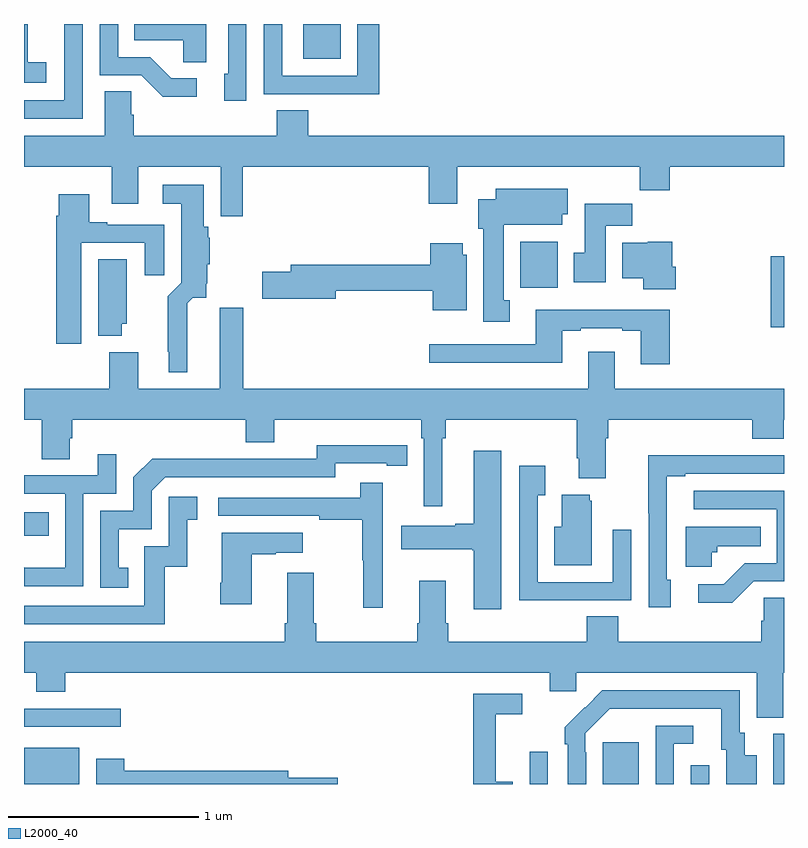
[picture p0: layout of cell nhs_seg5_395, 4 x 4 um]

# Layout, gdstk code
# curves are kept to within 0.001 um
import gdstk
lib = gdstk.Library(unit=1e-6, precision=1e-09)
def R(c, l, rs):  # rectangles x0, y0, x1, y1
    for r in rs: c.add(gdstk.rectangle(r[:2], r[2:], *l))
def P(c, l, *ps):  # polygons
    for p in ps: c.add(gdstk.Polygon(p, *l))
L2000_40 = (2000, 40)

nhs_seg5_395 = lib.new_cell('nhs_seg5_395')
R(nhs_seg5_395, L2000_40, [(135,898.799,135.292,898.99), (137.661,898.799,137.757,898.969), (138.047,898.799,138.235,899.02), (138.51,898.799,138.606,898.897), (138.944,898.799,139,899.064), (135,899.1,135.508,899.196), (135,900.105,135.131,900.228), (138.929,901.203,139,901.576), (137.612,901.412,137.809,901.654), (136.469,902.615,136.666,902.799)])
P(nhs_seg5_395, L2000_40, [(135.309,902.799),(135.213,902.799),(135.213,902.397),(135,902.397),(135,902.301),(135.309,902.301)],
  [(135.118,902.599),(135.02,902.599),(135.02,902.799),(135,902.799),(135,902.489),(135.118,902.489)],
  [(135.91,902.514),(135.775,902.514),(135.664,902.625),(135.495,902.625),(135.495,902.799),(135.399,902.799),(135.399,902.529),(135.618,902.529),(135.731,902.417),(135.91,902.417)],
  [(136.17,902.799),(136.074,902.799),(136.074,902.538),(136.055,902.538),(136.055,902.394),(136.17,902.394)],
  [(135.958,902.799),(135.58,902.799),(135.58,902.714),(135.837,902.714),(135.837,902.599),(135.958,902.599)],
  [(136.871,902.799),(136.755,902.799),(136.755,902.526),(136.359,902.526),(136.359,902.799),(136.263,902.799),(136.263,902.43),(136.579,902.43),(136.579,902.429),(136.871,902.429)],
  [(136.151,902.048),(137.129,902.048),(137.129,901.854),(137.281,901.854),(137.281,902.048),(138.241,902.048),(138.241,901.924),(138.398,901.924),(138.398,902.048),(139,902.048),(139,902.212),(136.496,902.212),(136.496,902.345),(136.331,902.345),(136.331,902.212),(135.578,902.212),(135.578,902.321),(135.564,902.321),(135.564,902.444),(135.425,902.444),(135.425,902.212),(135,902.212),(135,902.048),(135.461,902.048),(135.461,901.854),(135.601,901.854),(135.601,902.048),(136.035,902.048),(136.035,901.788),(136.151,901.788)],
  [(135.859,901.328),(135.889,901.359),(135.958,901.359),(135.958,901.429),(135.964,901.435),(135.964,901.534),(135.977,901.534),(135.977,901.674),(135.971,901.674),(135.971,901.731),(135.946,901.731),(135.946,901.954),(135.729,901.954),(135.729,901.853),(135.827,901.853),(135.827,901.436),(135.757,901.366),(135.757,901.075),(135.761,901.075),(135.761,900.965),(135.859,900.965)],
  [(137.557,901.346),(137.524,901.346),(137.524,901.742),(137.833,901.742),(137.833,901.799),(137.863,901.799),(137.863,901.933),(137.483,901.933),(137.483,901.876),(137.39,901.876),(137.39,901.722),(137.417,901.722),(137.417,901.233),(137.557,901.233)],
  [(135.301,901.647),(135.635,901.647),(135.635,901.476),(135.739,901.476),(135.739,901.743),(135.439,901.743),(135.439,901.756),(135.343,901.756),(135.343,901.903),(135.182,901.903),(135.182,901.79),(135.17,901.79),(135.17,901.116),(135.301,901.116)],
  [(138.061,901.736),(138.2,901.736),(138.2,901.854),(137.951,901.854),(137.951,901.596),(137.894,901.596),(137.894,901.44),(138.061,901.44)],
  [(138.431,901.521),(138.413,901.521),(138.413,901.654),(138.282,901.654),(138.282,901.648),(138.149,901.648),(138.149,901.46),(138.26,901.46),(138.26,901.403),(138.431,901.403)],
  [(137.329,901.584),(137.308,901.584),(137.308,901.645),(137.138,901.645),(137.138,901.532),(136.403,901.532),(136.403,901.496),(136.254,901.496),(136.254,901.354),(136.642,901.354),(136.642,901.396),(137.15,901.396),(137.15,901.292),(137.329,901.292)],
  [(135.514,901.221),(135.541,901.221),(135.541,901.562),(135.392,901.562),(135.392,901.157),(135.514,901.157)],
  [(137.969,900.88),(136.154,900.88),(136.154,901.306),(136.031,901.306),(136.031,900.88),(135.601,900.88),(135.601,901.072),(135.449,901.072),(135.449,900.88),(135,900.88),(135,900.716),(135.094,900.716),(135.094,900.508),(135.241,900.508),(135.241,900.618),(135.254,900.618),(135.254,900.716),(136.166,900.716),(136.166,900.599),(136.318,900.599),(136.318,900.716),(137.09,900.716),(137.09,900.62),(137.103,900.62),(137.103,900.261),(137.2,900.261),(137.2,900.62),(137.219,900.62),(137.219,900.716),(137.909,900.716),(137.909,900.514),(137.921,900.514),(137.921,900.407),(138.061,900.407),(138.061,900.62),(138.074,900.62),(138.074,900.716),(138.833,900.716),(138.833,900.617),(138.998,900.617),(138.998,900.716),(139,900.716),(139,900.88),(138.109,900.88),(138.109,901.075),(137.969,901.075)],
  [(138.398,901.294),(137.693,901.294),(137.693,901.113),(137.133,901.113),(137.133,901.016),(137.833,901.016),(137.833,901.185),(137.929,901.185),(137.929,901.197),(138.149,901.197),(138.149,901.185),(138.245,901.185),(138.245,901.008),(138.398,901.008)],
  [(135.548,899.937),(135.499,899.937),(135.499,900.141),(135.672,900.141),(135.672,900.342),(135.744,900.414),(136.638,900.414),(136.638,900.486),(136.91,900.486),(136.91,900.474),(137.018,900.474),(137.018,900.582),(136.542,900.583),(136.542,900.51),(136.082,900.51),(136.082,900.512),(135.674,900.512),(135.576,900.414),(135.576,900.237),(135.402,900.237),(135.402,899.832),(135.548,899.832)],
  [(137.512,900.553),(137.366,900.553),(137.366,900.17),(137.27,900.17),(137.27,900.157),(136.986,900.157),(136.986,900.035),(137.359,900.035),(137.359,900.028),(137.366,900.028),(137.366,899.718),(137.512,899.718)],
  [(135.312,900.327),(135.486,900.327),(135.486,900.535),(135.389,900.535),(135.389,900.423),(135,900.423),(135,900.327),(135.216,900.327),(135.216,899.938),(135.002,899.938),(135,899.94),(135,899.841),(135.312,899.841)],
  [(138.403,899.874),(138.384,899.874),(138.384,900.42),(138.481,900.42),(138.481,900.432),(139,900.432),(139,900.528),(138.749,900.528),(138.749,900.53),(138.286,900.53),(138.286,900.223),(138.288,900.223),(138.288,899.73),(138.403,899.73)],
  [(137.879,899.766),(138.195,899.766),(138.195,900.136),(138.099,900.136),(138.099,899.862),(137.703,899.862),(137.703,900.319),(137.743,900.319),(137.743,900.475),(137.607,900.475),(137.607,899.765),(137.879,899.765)],
  [(136.889,899.939),(136.887,899.939),(136.887,900.385),(136.771,900.385),(136.771,900.306),(136.023,900.306),(136.023,900.21),(136.555,900.21),(136.555,900.19),(136.779,900.19),(136.779,899.976),(136.786,899.976),(136.786,899.727),(136.889,899.727)],
  [(138.84,899.865),(139,899.865),(139,900.342),(138.525,900.342),(138.525,900.246),(138.963,900.246),(138.963,899.961),(138.794,899.961),(138.683,899.85),(138.549,899.85),(138.549,899.753),(138.727,899.753)],
  [(137.989,900.291),(137.978,900.291),(137.978,900.322),(137.831,900.322),(137.831,900.154),(137.792,900.154),(137.792,899.951),(137.989,899.951)],
  [(135.742,899.943),(135.86,899.943),(135.86,900.189),(135.913,900.189),(135.913,900.31),(135.762,900.31),(135.762,900.051),(135.633,900.051),(135.633,899.736),(135,899.736),(135,899.64),(135.742,899.64)],
  [(138.621,900.018),(138.648,900.018),(138.648,900.05),(138.878,900.05),(138.878,900.154),(138.482,900.154),(138.482,899.942),(138.621,899.942)],
  [(136.198,900.007),(136.325,900.007),(136.325,900.017),(136.468,900.017),(136.468,900.121),(136.04,900.121),(136.04,899.857),(136.033,899.857),(136.033,899.745),(136.198,899.745)],
  [(137.768,899.286),(137.907,899.286),(137.907,899.384),(138.857,899.384),(138.857,899.149),(138.997,899.149),(138.997,899.384),(139,899.384),(139,899.78),(138.894,899.78),(138.894,899.657),(138.881,899.657),(138.881,899.548),(138.128,899.548),(138.128,899.681),(137.963,899.681),(137.963,899.548),(137.234,899.548),(137.234,899.644),(137.221,899.644),(137.221,899.869),(137.081,899.869),(137.081,899.644),(137.069,899.644),(137.069,899.548),(136.538,899.548),(136.538,899.644),(136.525,899.644),(136.525,899.911),(136.385,899.911),(136.385,899.644),(136.373,899.644),(136.373,899.548),(135,899.548),(135,899.384),(135.065,899.384),(135.065,899.285),(135.218,899.285),(135.218,899.384),(137.768,899.384)],
  [(137.958,898.967),(137.955,898.967),(137.955,899.067),(138.084,899.196),(138.671,899.196),(138.671,898.98),(138.695,898.98),(138.695,898.799),(138.856,898.799),(138.856,898.951),(138.793,898.951),(138.793,899.07),(138.768,899.07),(138.768,899.292),(138.044,899.292),(137.847,899.097),(137.847,899.009),(137.862,899.009),(137.862,898.799),(137.958,898.799)],
  [(137.572,898.81),(137.483,898.81),(137.483,899.166),(137.623,899.166),(137.623,899.274),(137.365,899.274),(137.365,898.799),(137.572,898.799)],
  [(138.42,899.01),(138.523,899.01),(138.523,899.106),(138.324,899.106),(138.324,898.799),(138.42,898.799)],
  [(136.651,898.832),(136.39,898.832),(136.39,898.868),(135.527,898.868),(135.527,898.933),(135.38,898.933),(135.38,898.799),(136.651,898.799)])

lib.write_gds('nhs_seg5_395.gds')
